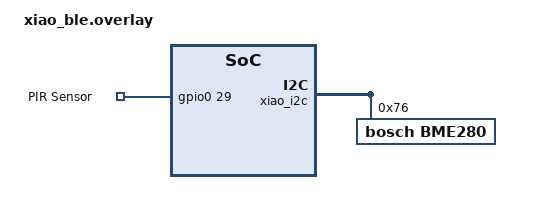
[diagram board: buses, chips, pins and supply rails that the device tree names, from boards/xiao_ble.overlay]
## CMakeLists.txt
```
# SPDX-License-Identifier: MIT
cmake_minimum_required(VERSION 3.20)
find_package(Zephyr REQUIRED HINTS $ENV{ZEPHYR_BASE})
project(bthome_full_node)
target_sources(app PRIVATE
    src/main.c
    src/sensor_pir.c
    src/sensor_bme280.c
)
target_include_directories(app PRIVATE src
include)
```

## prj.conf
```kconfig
# ── Bluetooth ──────────────────────────────────────────────────────────────
CONFIG_BT=y
CONFIG_BT_PERIPHERAL=y
CONFIG_BT_DEVICE_NAME="MAKE-010"

# ── BThome V2 library ───────────────────────────────────────────────────────
CONFIG_BTHOME_V2=y

# ── Sensor framework ────────────────────────────────────────────────────────
CONFIG_SENSOR=y
CONFIG_I2C=y
CONFIG_BME280=y

# ── nRF52 internal die-temperature sensor ───────────────────────────────────
CONFIG_TEMP_NRF5=y

# ── IMU: select ONE depending on hardware (see board-specific .conf files) ──
# CONFIG_MPU6050=y     # nRF52840-DK + MPU-6050 breakout
# CONFIG_LSM6DSL=y     # Seeed XIAO nRF52840 Sense (LSM6DS3 = LSM6DSL-compatible)

# ── GPIO ────────────────────────────────────────────────────────────────────
CONFIG_GPIO=y

# ── Logging ─────────────────────────────────────────────────────────────────
CONFIG_LOG=y
CONFIG_LOG_DEFAULT_LEVEL=3

# ── Stack sizes ─────────────────────────────────────────────────────────────
CONFIG_MAIN_STACK_SIZE=2048
CONFIG_BT_RX_STACK_SIZE=1024
```

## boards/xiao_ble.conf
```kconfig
# Seeed XIAO nRF52840 (plain) — board-specific config for bthome_full_node
#
# The XIAO nRF52840 has NO external 32.768 kHz crystal.
# Use the internal RC oscillator (LFRC) for BLE — mandatory!
CONFIG_CLOCK_CONTROL_NRF_K32SRC_RC=y
CONFIG_CLOCK_CONTROL_NRF_K32SRC_RC_CALIBRATION=y

# Plain XIAO has no IMU — use xiao_ble_sense for the Sense variant.
```

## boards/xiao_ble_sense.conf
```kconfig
# Seeed XIAO nRF52840 Sense — board-specific config for bthome_full_node
#
# The XIAO nRF52840 has NO external 32.768 kHz crystal.
# Use the internal RC oscillator (LFRC) for BLE — mandatory!
CONFIG_CLOCK_CONTROL_NRF_K32SRC_RC=y
CONFIG_CLOCK_CONTROL_NRF_K32SRC_RC_CALIBRATION=y

# IMU: LSM6DS3TR-C on the Sense variant (LSM6DSL-compatible driver)
CONFIG_LSM6DSL=y
```

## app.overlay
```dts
/* BME280 connected to the XIAO nRF52840 I2C pins. */
&xiao_i2c {
	bme280: bme280@76 {
		compatible = "bosch,bme280";
		reg = <0x76>;
		status = "okay";
	};
};
```

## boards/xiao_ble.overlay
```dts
/* SPDX-License-Identifier: MIT */
/*
 * bthome_full_node overlay for Seeed XIAO nRF52840 (plain, no IMU)
 *
 * The plain xiao_ble has no LSM6DS3 — disable IMU and PIR alias only.
 * Use BOARD=xiao_ble_sense for the Sense variant with IMU.
 */

/* BME280 connected to the XIAO I2C pins (SDA=D4, SCL=D5). */
&xiao_i2c {
	bme280: bme280@76 {
		compatible = "bosch,bme280";
		reg = <0x76>;
		status = "okay";
	};
};

/* ── PIR sensor GPIO ────────────────────────────────────────────────────── */
/ {
	pir_inputs: pir_inputs {
		compatible = "gpio-keys";
		pir0: pir_0 {
			gpios = <&gpio0 29 (GPIO_ACTIVE_HIGH | GPIO_PULL_DOWN)>;
			label = "PIR Sensor";
		};
	};

	aliases {
		pir-sensor = &pir0;
	};
};
```

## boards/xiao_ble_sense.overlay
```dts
/* SPDX-License-Identifier: MIT */
/*
 * bthome_full_node overlay for Seeed XIAO nRF52840 Sense
 *
 * The LSM6DS3TR-C on i2c0 is already defined in the board DTS
 * (xiao_ble_sense.dts) — we only add the imu alias and the PIR GPIO.
 *
 *   IMU  : lsm6ds3tr_c @ 0x6A on i2c0 (P0.07=SDA, P0.27=SCL)
 *          Power-enable: P1.08 (handled by board DTS regulator node)
 *   PIR  : P0.29 (XIAO D3), active-high with pull-down
 */

/* BME280 connected to the XIAO I2C pins (SDA=D4, SCL=D5). */
&xiao_i2c {
	bme280: bme280@76 {
		compatible = "bosch,bme280";
		reg = <0x76>;
		status = "okay";
	};
};

/* ── PIR sensor GPIO ────────────────────────────────────────────────────── */
/ {
	pir_inputs: pir_inputs {
		compatible = "gpio-keys";
		pir0: pir_0 {
			gpios = <&gpio0 29 (GPIO_ACTIVE_HIGH | GPIO_PULL_DOWN)>;
			label = "PIR Sensor";
		};
	};

	aliases {
		imu        = &lsm6ds3tr_c;
		pir-sensor = &pir0;
	};
};
```

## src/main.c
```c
/* SPDX-License-Identifier: MIT */
/*
 * Copyright (c) 2026 Daniel Glaser
 *
 * BThome V2 Full-Node Sample
 * ==========================
 * Combines three sensor sources into one BThome V2 BLE advertisement:
 *
 *  1. Die temperature   — nRF52840 internal temperature sensor (always present)
 *  2. 6-axis IMU        — MPU-6050 (nRF52840-DK) or LSM6DS3/LSM6DSL (XIAO Sense)
 *                         Advertises acceleration and gyroscope magnitude.
 *  3. PIR motion sensor — GPIO binary sensor (active-high, DT alias "pir-sensor")
 *
 * The device advertises a new BThome V2 packet every ADVERT_INTERVAL_SEC seconds.
 *
 * Build (nRF52840-DK with MPU-6050 breakout):
 *   west build -b nrf52840dk/nrf52840 samples/bthome_full_node
 *
 * Build (Seeed XIAO nRF52840 Sense):
 *   west build -b seeed_xiao_ble/nrf52840 samples/bthome_full_node
 *
 * Verify with bthome-logger:
 *   uv tool install bthome-logger && bthome-logger -f "MAKE"
 */

#include <zephyr/kernel.h>
#include <zephyr/logging/log.h>
#include <zephyr/bluetooth/bluetooth.h>
#include <zephyr/bluetooth/hci.h>
#include <zephyr/drivers/gpio.h>

#include <bthome_v2/bthome_v2.h>

#include "sensor_bme280.h"
#include "sensor_pir.h"

LOG_MODULE_REGISTER(bthome_node, LOG_LEVEL_INF);

/* ── Device handles for suspend/resume ──────────────────────────────────── */
/*
 * On the Seeed XIAO nRF52840 Sense the IMU hangs on i2c0.
 * Suspending the child device first, then the bus saves the I2C pull-up
 * current and stops the LSM6DS3TR-C sampling (~0.9 mA in normal mode).
 * On boards without these nodes the DT macros resolve to nothing and the
 * pm_suspend/resume helpers compile away to empty stubs.
 */
#if DT_NODE_HAS_STATUS(DT_NODELABEL(lsm6ds3tr_c), okay)
#define HAS_IMU_PM 1
static const struct device *imu_dev =
	DEVICE_DT_GET(DT_NODELABEL(lsm6ds3tr_c));
#else
#define HAS_IMU_PM 0
#endif

#if DT_NODE_HAS_STATUS(DT_NODELABEL(i2c0), okay)
#define HAS_I2C_PM 1
static const struct device *i2c_dev =
	DEVICE_DT_GET(DT_NODELABEL(i2c0));
#else
#define HAS_I2C_PM 0
#endif

/* ── Timing ──────────────────────────────────────────────────────────────── */
#define ADVERT_INTERVAL_SEC  30

/**
 * How long to advertise per cycle ("burst" window).
 *
 * The BLE controller holds the 16 MHz HFCLK active as long as advertising
 * is running.  Stopping advertising with bt_le_adv_stop() releases the
 * HFCLK request completely, allowing the nRF52840 to drop to ~3-8 µA
 * in System ON / CPU asleep mode.
 *
 * 3 seconds is enough for Home Assistant to receive several packets
 * (at slow interval ~1 s) before the device goes back to sleep.
 */
#define ADV_BURST_SEC         3

/* ── BLE advertising parameters ─────────────────────────────────────────── */
static const struct bt_le_adv_param adv_param =
	BT_LE_ADV_PARAM_INIT(BT_LE_ADV_OPT_USE_IDENTITY,
			     BT_GAP_ADV_SLOW_INT_MIN,
			     BT_GAP_ADV_SLOW_INT_MAX,
			     NULL);

/* ── BThome V2 context ───────────────────────────────────────────────────── */
static struct bthome_v2_ctx bthome;

/* ── Advertising data: Flags + BThome service data ─────────────────────── */
/* The legacy advertisement is limited to 31 bytes. The name is placed in
 * the scan response so the full BThomeENOTSU service data can fit. */
static struct bt_data ad[2];
static struct bt_data scan_rsp[1];

/* ── Packet counter (incremented each advertisement) ────────────────────── */
static uint8_t pkt_id;

/* ── LED2 (alias "led1" on nRF52840-DK) ─────────────────────────────────── */
#if DT_NODE_HAS_STATUS(DT_ALIAS(led1), okay)
static const struct gpio_dt_spec led2 =
	GPIO_DT_SPEC_GET(DT_ALIAS(led1), gpios);
#define HAS_LED2 1
#else
#define HAS_LED2 0
#endif

/* ── PPK2 active-indicator (P0.02 / D0) ────────────────────────────────── */
/* HIGH = CPU awake, LOW = inside k_sleep(). Connect to PPK2 DI channel. */
#if DT_NODE_HAS_STATUS(DT_ALIAS(active_indicator), okay)
static const struct gpio_dt_spec active_ind =
	GPIO_DT_SPEC_GET(DT_ALIAS(active_indicator), gpios);
#define HAS_ACTIVE_IND 1
#else
#define HAS_ACTIVE_IND 0
#endif

/* ── Encode sensor data into ad[2] ──────────────────────────────────────── */
/*
 * Does NOT call bt_le_adv_update_data() — advertising is started fresh
 * each cycle via bt_le_adv_start(), so updating while running is not needed.
 */
static void encode_advertisement(void)
{
	int ret;

#if HAS_LED2
	gpio_pin_set_dt(&led2, 1);
#endif

	bthome_v2_clear(&bthome);
	bthome_v2_add_packet_id(&bthome, pkt_id++);

	sensor_pir_update(&bthome);
	sensor_bme280_update(&bthome);

	ret = bthome_v2_encode(&bthome);
	if (ret < 0) {
		LOG_ERR("BThome encode failed: %d", ret);
		goto out;
	}

	ret = bthome_v2_get_bt_data(&bthome, &ad[1]);
	if (ret < 0) {
		LOG_ERR("bthome_v2_get_bt_data failed: %d", ret);
	}

out:
#if HAS_LED2
	k_sleep(K_MSEC(50));
	gpio_pin_set_dt(&led2, 0);
#else
	(void)ret;
#endif
}

/* ── Sensor read & advertise ─────────────────────────────────────────────── */

static void update_advertisement(void)
{
	int ret;

#if HAS_LED2
	gpio_pin_set_dt(&led2, 1);
#endif

	bthome_v2_clear(&bthome);
	bthome_v2_add_packet_id(&bthome, pkt_id++);

	sensor_pir_update(&bthome);
	sensor_bme280_update(&bthome);

	/* ── Encode & update advertising ─────────────────────────────────── */
	ret = bthome_v2_encode(&bthome);
	if (ret < 0) {
		LOG_ERR("BThome encode failed: %d", ret);
		return;
	}

	ret = bthome_v2_get_bt_data(&bthome, &ad[1]);
	if (ret < 0) {
		LOG_ERR("bthome_v2_get_bt_data failed: %d", ret);
		return;
	}

	ret = bt_le_adv_update_data(ad, ARRAY_SIZE(ad), NULL, 0);
	if (ret < 0) {
		LOG_ERR("BLE adv update failed: %d", ret);
	}

#if HAS_LED2
	k_sleep(K_MSEC(50));
	gpio_pin_set_dt(&led2, 0);
#endif
}

/* ── Main ────────────────────────────────────────────────────────────────── */

int main1(void)
{
	int ret;

	LOG_INF("BThome V2 Full-Node starting");

	/* ── Initialise LED2 ────────────────────────────────────────────── */
#if HAS_LED2
	if (gpio_is_ready_dt(&led2)) {
		gpio_pin_configure_dt(&led2, GPIO_OUTPUT_INACTIVE);
	}
#endif

	/* ── Initialise sensors ─────────────────────────────────────────── */
	sensor_pir_init();

	/* ── Initialise BThome V2 context ───────────────────────────────── */
	bthome_v2_init(&bthome, false, false);

	/* ── Build initial advertising data ────────────────────────────── */
	ad[0] = (struct bt_data)
		BT_DATA_BYTES(BT_DATA_FLAGS,
			      BT_LE_AD_GENERAL | BT_LE_AD_NO_BREDR);
	scan_rsp[0] = (struct bt_data)
		BT_DATA(BT_DATA_NAME_COMPLETE,
			CONFIG_BT_DEVICE_NAME,
			sizeof(CONFIG_BT_DEVICE_NAME) - 1);

	bthome_v2_add_packet_id(&bthome, 0);
	bthome_v2_encode(&bthome);
	bthome_v2_get_bt_data(&bthome, &ad[1]);
	bthome_v2_clear(&bthome);

	/* ── Enable Bluetooth ───────────────────────────────────────────── */
	ret = bt_enable(NULL);
	if (ret) {
		LOG_ERR("bt_enable failed: %d", ret);
		return ret;
	}
	LOG_INF("Bluetooth enabled");

	/* ── Start advertising ──────────────────────────────────────────── */
	ret = bt_le_adv_start(&adv_param, ad, ARRAY_SIZE(ad),
			      scan_rsp, ARRAY_SIZE(scan_rsp));
	if (ret) {
		LOG_ERR("bt_le_adv_start failed: %d", ret);
		return ret;
	}
	LOG_INF("Advertising started (interval ~%d ms)",
		BT_GAP_ADV_SLOW_INT_MIN * 625 / 1000);

	/* ── Main loop ──────────────────────────────────────────────────── */
	while (true) {
		update_advertisement();
		k_sleep(K_SECONDS(ADVERT_INTERVAL_SEC));
	}

	return 0;
}

int main(void)
{
	int ret;

	LOG_INF("BThome V2 Tutorial 2 (PM) starting");

	/* ── Initialise LED2 ────────────────────────────────────────────── */
#if HAS_LED2
	if (gpio_is_ready_dt(&led2)) {
		gpio_pin_configure_dt(&led2, GPIO_OUTPUT_INACTIVE);
	}
#endif
	/* ── Initialise active-indicator pin (P0.02 / D0) ─────────────────── */
#if HAS_ACTIVE_IND
	if (gpio_is_ready_dt(&active_ind)) {
		gpio_pin_configure_dt(&active_ind, GPIO_OUTPUT_INACTIVE);
	}
#endif
	/* ── Initialise sensors ─────────────────────────────────────────── */
	sensor_pir_init();

	/* ── Initialise BThome V2 context ───────────────────────────────── */
	bthome_v2_init(&bthome, false, false);

	/* ── Build static advertising header (Flags + Name) ────────────── */
	ad[0] = (struct bt_data)
		BT_DATA_BYTES(BT_DATA_FLAGS,
			      BT_LE_AD_GENERAL | BT_LE_AD_NO_BREDR);
	scan_rsp[0] = (struct bt_data)
		BT_DATA(BT_DATA_NAME_COMPLETE,
			CONFIG_BT_DEVICE_NAME,
			sizeof(CONFIG_BT_DEVICE_NAME) - 1);

	/* ── Enable Bluetooth ───────────────────────────────────────────── */
	ret = bt_enable(NULL);
	if (ret) {
		LOG_ERR("bt_enable failed: %d", ret);
		return ret;
	}
	LOG_INF("Bluetooth enabled");

	/* Active-indicator HIGH: system operational */
#if HAS_ACTIVE_IND
	gpio_pin_set_dt(&active_ind, 1);
#endif

	/* ── Main loop ──────────────────────────────────────────────────── */
	while (true) {
		/*
		 * ── Step 1: measure + encode ───────────────────────────── *
		 * Resume I2C/IMU first (no-op on boards without them).
		 */
#if HAS_I2C_PM
		pm_device_action_run(i2c_dev, PM_DEVICE_ACTION_RESUME);
#endif
#if HAS_IMU_PM
		pm_device_action_run(imu_dev, PM_DEVICE_ACTION_RESUME);
#endif

		encode_advertisement();

		/*
		 * ── Step 2: burst advertising ──────────────────────────── *
		 * Start advertising with fresh payload, wait ADV_BURST_SEC,
		 * then stop.  bt_disable() below is what actually releases
		 * the HFCLK request held by the BLE controller.
		 */
		ret = bt_le_adv_start(&adv_param, ad, ARRAY_SIZE(ad), scan_rsp, ARRAY_SIZE(scan_rsp));
		if (ret) {
			LOG_ERR("bt_le_adv_start failed: %d", ret);
		}

		LOG_INF("Advertising burst %d s...", ADV_BURST_SEC);
		k_sleep(K_SECONDS(ADV_BURST_SEC));

		bt_le_adv_stop();

		/*
		 * bt_disable() is the ONLY way to make the SDC release its
		 * HFCLK request.  bt_le_adv_stop() alone is not enough —
		 * the BLE controller keeps the 16 MHz HFINT oscillator running
		 * as long as bt_enable() is active, drawing ~640 µA even with
		 * the CPU in WFI.  bt_disable() synchronously tears down the
		 * controller and releases HFCLK before returning.
		 *
		 * bt_enable(NULL) at the end of the loop re-initialises the
		 * controller for the next advertising burst (~10-50 ms).
		 */
		bt_disable();

		/*
		 * ── Step 3: deep sleep ──────────────────────────────────── *
		 * Suspend peripherals, drive indicator LOW, sleep.
		 * With HFCLK released and CPU in WFI the nRF52840 draws
		 * ~3-15 µA (LFRC oscillator keep-alive only).
		 */
#if HAS_IMU_PM
		pm_device_action_run(imu_dev, PM_DEVICE_ACTION_SUSPEND);
#endif
#if HAS_I2C_PM
		pm_device_action_run(i2c_dev, PM_DEVICE_ACTION_SUSPEND);
#endif

#if HAS_ACTIVE_IND
		gpio_pin_set_dt(&active_ind, 0);
#endif

		LOG_INF("Sleeping %d s...", ADVERT_INTERVAL_SEC - ADV_BURST_SEC);
		k_sleep(K_SECONDS(ADVERT_INTERVAL_SEC - ADV_BURST_SEC));

#if HAS_ACTIVE_IND
		gpio_pin_set_dt(&active_ind, 1);
#endif

		/* Re-enable BT controller for next cycle.
		 * NULL callback = block until ready (~10-50 ms). */
		ret = bt_enable(NULL);
		if (ret) {
			LOG_ERR("bt_enable (re-init) failed: %d", ret);
		}
	}

	return 0;
}
```

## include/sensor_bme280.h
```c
/* SPDX-License-Identifier: MIT */

#ifndef SENSOR_BME280_H_
#define SENSOR_BME280_H_

#include <bthome_v2/bthome_v2.h>

void sensor_bme280_update(struct bthome_v2_ctx *ctx);

#endif
```

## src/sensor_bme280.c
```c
/* SPDX-License-Identifier: MIT */

#include <zephyr/drivers/sensor.h>
#include <zephyr/logging/log.h>

#include "sensor_bme280.h"

/*

BME280 VCC  -> 3.3V
BME280 GND  -> GND
BME280 SDA  -> XIAO D4
BME280 SCL  -> XIAO D5

*/

LOG_MODULE_DECLARE(bthome_node, LOG_LEVEL_INF);

#if DT_HAS_COMPAT_STATUS_OKAY(bosch_bme280)
static const struct device *bme280_dev = DEVICE_DT_GET_ONE(bosch_bme280);
#else
static const struct device *bme280_dev;
#endif

static int32_t sensor_value_to_centi(const struct sensor_value *value)
{
	return value->val1 * 100 + value->val2 / 10000;
}

void sensor_bme280_update(struct bthome_v2_ctx *ctx)
{
	struct sensor_value temperature;
	struct sensor_value humidity;
	struct sensor_value pressure;
	int32_t temperature_centi = 0;
	uint32_t humidity_centi = 0;
	uint32_t pressure_chpa = 0;
	int ret;

		if (!bme280_dev ) {
		LOG_WRN("bme280_dev not initialized");
		return;
	}

	if (!bme280_dev || !device_is_ready(bme280_dev)) {
		LOG_WRN("BME280 is not ready");
		return;
	}

	ret = sensor_sample_fetch(bme280_dev);
	if (ret < 0) {
		LOG_WRN("BME280 sample failed: %d", ret);
		return;
	}

	ret = sensor_channel_get(bme280_dev, SENSOR_CHAN_AMBIENT_TEMP, &temperature);
	if (ret == 0) {
		temperature_centi = sensor_value_to_centi(&temperature);
		bthome_v2_add_temperature(ctx, (int16_t)temperature_centi);
	}

	ret = sensor_channel_get(bme280_dev, SENSOR_CHAN_HUMIDITY, &humidity);
	LOG_INF("BME280 humidity read: ret=%d val1=%d val2=%d", ret, humidity.val1, humidity.val2);
	if (ret == 0) {
		humidity_centi = (uint32_t)sensor_value_to_centi(&humidity);
		bthome_v2_add_humidity(ctx, (uint16_t)humidity_centi);
	}

	ret = sensor_channel_get(bme280_dev, SENSOR_CHAN_PRESS, &pressure);
	if (ret == 0) {
		/* Zephyr reports pressure in kPa; BThome expects 0.01 hPa. */
		pressure_chpa = (uint32_t)pressure.val1 * 1000U +
			(uint32_t)pressure.val2 / 1000U;
		bthome_v2_add_pressure(ctx, pressure_chpa);
	}

	LOG_INF("BME280: %d.%02d C, %d.%02d %%, %d.%02d hPa",
		(int)(temperature_centi / 100), (int)(temperature_centi % 100),
		(int)(humidity_centi / 100), (int)(humidity_centi % 100),
		(int)(pressure_chpa / 100), (int)(pressure_chpa % 100));
}
```
